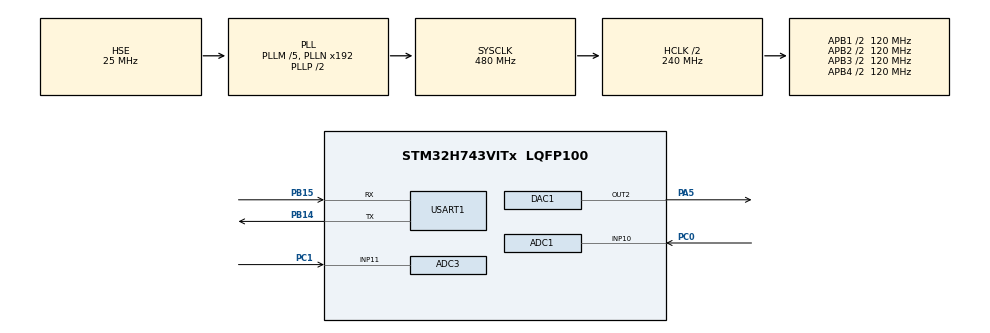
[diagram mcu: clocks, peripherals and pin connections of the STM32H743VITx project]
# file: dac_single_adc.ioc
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ADC1.Channel-0\#ChannelRegularConversion=ADC_CHANNEL_10
ADC1.ConversionDataManagement=ADC_CONVERSIONDATA_DMA_CIRCULAR
ADC1.EOCSelection=ADC_EOC_SINGLE_CONV
ADC1.ExternalTrigConv=ADC_EXTERNALTRIG_T15_TRGO
ADC1.NbrOfConversionFlag=1
ADC1.OffsetNumber-0\#ChannelRegularConversion=ADC_OFFSET_NONE
ADC1.OffsetSignedSaturation-0\#ChannelRegularConversion=DISABLE
ADC1.Rank-0\#ChannelRegularConversion=1
ADC1.SamplingTime-0\#ChannelRegularConversion=ADC_SAMPLETIME_1CYCLE_5
ADC1.master=1
ADC3.Channel-0\#ChannelRegularConversion=ADC_CHANNEL_11
ADC3.ConversionDataManagement=ADC_CONVERSIONDATA_DMA_CIRCULAR
ADC3.ExternalTrigConv=ADC_EXTERNALTRIG_T15_TRGO
ADC3.NbrOfConversion=1
ADC3.NbrOfConversionFlag=1
ADC3.OffsetNumber-0\#ChannelRegularConversion=ADC_OFFSET_NONE
ADC3.OffsetSignedSaturation-0\#ChannelRegularConversion=DISABLE
ADC3.Rank-0\#ChannelRegularConversion=1
ADC3.SamplingTime-0\#ChannelRegularConversion=ADC_SAMPLETIME_1CYCLE_5
CORTEX_M7.AccessPermission-Cortex_Memory_Protection_Unit_Region0_Settings=MPU_REGION_FULL_ACCESS
CORTEX_M7.AccessPermission-Cortex_Memory_Protection_Unit_Region1_Settings=MPU_REGION_FULL_ACCESS
CORTEX_M7.AccessPermission-Cortex_Memory_Protection_Unit_Region2_Settings=MPU_REGION_FULL_ACCESS
CORTEX_M7.AccessPermission-Cortex_Memory_Protection_Unit_Region3_Settings=MPU_REGION_FULL_ACCESS
CORTEX_M7.AccessPermission-Cortex_Memory_Protection_Unit_Region4_Settings=MPU_REGION_FULL_ACCESS
CORTEX_M7.BaseAddress-Cortex_Memory_Protection_Unit_Region0_Settings=0x24000000
CORTEX_M7.BaseAddress-Cortex_Memory_Protection_Unit_Region1_Settings=0x30000000
CORTEX_M7.BaseAddress-Cortex_Memory_Protection_Unit_Region2_Settings=0x30020000
CORTEX_M7.BaseAddress-Cortex_Memory_Protection_Unit_Region3_Settings=0x30040000
CORTEX_M7.BaseAddress-Cortex_Memory_Protection_Unit_Region4_Settings=0x38000000
CORTEX_M7.CPU_DCache=Enabled
CORTEX_M7.CPU_ICache=Enabled
CORTEX_M7.Enable-Cortex_Memory_Protection_Unit_Region0_Settings=MPU_REGION_ENABLE
CORTEX_M7.Enable-Cortex_Memory_Protection_Unit_Region1_Settings=MPU_REGION_ENABLE
CORTEX_M7.Enable-Cortex_Memory_Protection_Unit_Region2_Settings=MPU_REGION_ENABLE
CORTEX_M7.Enable-Cortex_Memory_Protection_Unit_Region3_Settings=MPU_REGION_ENABLE
CORTEX_M7.Enable-Cortex_Memory_Protection_Unit_Region4_Settings=MPU_REGION_ENABLE
CORTEX_M7.IsBufferable-Cortex_Memory_Protection_Unit_Region0_Settings=MPU_ACCESS_BUFFERABLE
CORTEX_M7.IsCacheable-Cortex_Memory_Protection_Unit_Region0_Settings=MPU_ACCESS_CACHEABLE
CORTEX_M7.MPU_Control=MPU_PRIVILEGED_DEFAULT
CORTEX_M7.Size-Cortex_Memory_Protection_Unit_Region0_Settings=MPU_REGION_SIZE_512KB
CORTEX_M7.Size-Cortex_Memory_Protection_Unit_Region1_Settings=MPU_REGION_SIZE_128KB
CORTEX_M7.Size-Cortex_Memory_Protection_Unit_Region2_Settings=MPU_REGION_SIZE_128KB
CORTEX_M7.Size-Cortex_Memory_Protection_Unit_Region3_Settings=MPU_REGION_SIZE_32KB
CORTEX_M7.Size-Cortex_Memory_Protection_Unit_Region4_Settings=MPU_REGION_SIZE_64KB
CORTEX_M7.TypeExtField-Cortex_Memory_Protection_Unit_Region0_Settings=MPU_TEX_LEVEL1
CORTEX_M7.TypeExtField-Cortex_Memory_Protection_Unit_Region1_Settings=MPU_TEX_LEVEL1
CORTEX_M7.TypeExtField-Cortex_Memory_Protection_Unit_Region2_Settings=MPU_TEX_LEVEL1
CORTEX_M7.TypeExtField-Cortex_Memory_Protection_Unit_Region3_Settings=MPU_TEX_LEVEL1
CORTEX_M7.TypeExtField-Cortex_Memory_Protection_Unit_Region4_Settings=MPU_TEX_LEVEL1
DAC1.DAC2_OutputBuffer-DAC_OUT2=DAC_OUTPUTBUFFER_DISABLE
DAC1.DAC_Channel-DAC_OUT2=DAC_CHANNEL_2
DAC1.DAC_Trigger-DAC_OUT2=DAC_TRIGGER_T6_TRGO
DAC1.WaveGeneration-DAC_OUT2=DISABLE
Dma.ADC1.0.Direction=DMA_PERIPH_TO_MEMORY
Dma.ADC1.0.EventEnable=DISABLE
Dma.ADC1.0.FIFOMode=DMA_FIFOMODE_DISABLE
Dma.ADC1.0.Instance=DMA1_Stream0
Dma.ADC1.0.MemDataAlignment=DMA_MDATAALIGN_HALFWORD
Dma.ADC1.0.MemInc=DMA_MINC_ENABLE
Dma.ADC1.0.Mode=DMA_NORMAL
Dma.ADC1.0.PeriphDataAlignment=DMA_PDATAALIGN_HALFWORD
Dma.ADC1.0.PeriphInc=DMA_PINC_DISABLE
Dma.ADC1.0.Polarity=HAL_DMAMUX_REQ_GEN_RISING
Dma.ADC1.0.Priority=DMA_PRIORITY_LOW
Dma.ADC1.0.RequestNumber=1
Dma.ADC1.0.SignalID=NONE
Dma.ADC1.0.SyncEnable=DISABLE
Dma.ADC1.0.SyncPolarity=HAL_DMAMUX_SYNC_NO_EVENT
Dma.ADC1.0.SyncRequestNumber=1
Dma.ADC1.0.SyncSignalID=NONE
Dma.ADC3.2.Direction=DMA_PERIPH_TO_MEMORY
Dma.ADC3.2.EventEnable=DISABLE
Dma.ADC3.2.FIFOMode=DMA_FIFOMODE_DISABLE
Dma.ADC3.2.Instance=DMA1_Stream2
Dma.ADC3.2.MemDataAlignment=DMA_MDATAALIGN_HALFWORD
Dma.ADC3.2.MemInc=DMA_MINC_ENABLE
Dma.ADC3.2.Mode=DMA_NORMAL
Dma.ADC3.2.PeriphDataAlignment=DMA_PDATAALIGN_HALFWORD
Dma.ADC3.2.PeriphInc=DMA_PINC_DISABLE
Dma.ADC3.2.Polarity=HAL_DMAMUX_REQ_GEN_RISING
Dma.ADC3.2.Priority=DMA_PRIORITY_LOW
Dma.ADC3.2.RequestNumber=1
Dma.ADC3.2.SignalID=NONE
Dma.ADC3.2.SyncEnable=DISABLE
Dma.ADC3.2.SyncPolarity=HAL_DMAMUX_SYNC_NO_EVENT
Dma.ADC3.2.SyncRequestNumber=1
Dma.ADC3.2.SyncSignalID=NONE
Dma.DAC1_CH2.1.Direction=DMA_MEMORY_TO_PERIPH
Dma.DAC1_CH2.1.EventEnable=DISABLE
Dma.DAC1_CH2.1.FIFOMode=DMA_FIFOMODE_DISABLE
Dma.DAC1_CH2.1.Instance=DMA1_Stream1
Dma.DAC1_CH2.1.MemDataAlignment=DMA_MDATAALIGN_HALFWORD
Dma.DAC1_CH2.1.MemInc=DMA_MINC_ENABLE
Dma.DAC1_CH2.1.Mode=DMA_CIRCULAR
Dma.DAC1_CH2.1.PeriphDataAlignment=DMA_PDATAALIGN_HALFWORD
Dma.DAC1_CH2.1.PeriphInc=DMA_PINC_DISABLE
Dma.DAC1_CH2.1.Polarity=HAL_DMAMUX_REQ_GEN_RISING
Dma.DAC1_CH2.1.Priority=DMA_PRIORITY_LOW
Dma.DAC1_CH2.1.RequestNumber=1
Dma.DAC1_CH2.1.SignalID=NONE
Dma.DAC1_CH2.1.SyncEnable=DISABLE
Dma.DAC1_CH2.1.SyncPolarity=HAL_DMAMUX_SYNC_NO_EVENT
Dma.DAC1_CH2.1.SyncRequestNumber=1
Dma.DAC1_CH2.1.SyncSignalID=NONE
Dma.Request0=ADC1
Dma.Request1=DAC1_CH2
Dma.Request2=ADC3
Mcu.Family=STM32H7
Mcu.Name=STM32H743VITx
Mcu.Package=LQFP100
NVIC.DMA1_Stream0_IRQn=true\:0\:0\:false\:false\:true\:false\:true\:true
NVIC.DMA1_Stream1_IRQn=true\:0\:0\:false\:false\:true\:false\:true\:true
NVIC.DMA1_Stream2_IRQn=true\:0\:0\:false\:false\:true\:false\:true\:true
NVIC.PriorityGroup=NVIC_PRIORITYGROUP_4
PA13\ (JTMS/SWDIO).Mode=Serial_Wire
PA13\ (JTMS/SWDIO).Signal=DEBUG_JTMS-SWDIO
PA14\ (JTCK/SWCLK).Mode=Serial_Wire
PA14\ (JTCK/SWCLK).Signal=DEBUG_JTCK-SWCLK
PA5.Signal=COMP_DAC12_group
PB14.Mode=Asynchronous
PB14.Signal=USART1_TX
PB15.Mode=Asynchronous
PB15.Signal=USART1_RX
PC0.Signal=ADCx_INP10
PC1.Signal=ADCx_INP11
PH0-OSC_IN\ (PH0).Mode=HSE-External-Oscillator
PH0-OSC_IN\ (PH0).Signal=RCC_OSC_IN
PH1-OSC_OUT\ (PH1).Mode=HSE-External-Oscillator
PH1-OSC_OUT\ (PH1).Signal=RCC_OSC_OUT
ProjectManager.HeapSize=0x200
ProjectManager.StackSize=0x7400
ProjectManager.TargetToolchain=MDK-ARM V5.32
RCC.ADCFreq_Value=72000000
RCC.APB1Freq_Value=120000000
RCC.APB2Freq_Value=120000000
RCC.APB3Freq_Value=120000000
RCC.APB4Freq_Value=120000000
RCC.CortexFreq_Value=480000000
RCC.D1PPRE=RCC_APB3_DIV2
RCC.D2PPRE1=RCC_APB1_DIV2
RCC.D2PPRE2=RCC_APB2_DIV2
RCC.D3PPRE=RCC_APB4_DIV2
RCC.DIVM1=5
RCC.DIVM2=25
RCC.DIVN1=192
RCC.DIVN2=360
RCC.DIVP2=5
RCC.HCLKFreq_Value=240000000
RCC.HPRE=RCC_HCLK_DIV2
RCC.HSE_VALUE=25000000
RCC.PLLSourceVirtual=RCC_PLLSOURCE_HSE
RCC.PWR_Regulator_Voltage_Scale=PWR_REGULATOR_VOLTAGE_SCALE0
RCC.ProductRev=revV
RCC.SYSCLKFreq_VALUE=480000000
RCC.SYSCLKSource=RCC_SYSCLKSOURCE_PLLCLK
RCC.USBFreq_Value=480000000
SH.ADCx_INP10.0=ADC1_INP10,IN10-Single-Ended
SH.ADCx_INP11.0=ADC3_INP11,IN11-Single-Ended
SH.COMP_DAC12_group.0=DAC1_OUT2,DAC_OUT2
TIM15.Period=16-1
TIM15.Prescaler=50-1
TIM15.TIM_MasterOutputTrigger=TIM_TRGO_UPDATE
TIM6.AutoReloadPreload=TIM_AUTORELOAD_PRELOAD_ENABLE
TIM6.Period=200-1
TIM6.Prescaler=12-1
TIM6.TIM_MasterOutputTrigger=TIM_TRGO_UPDATE
TIM7.Prescaler=239
USART1.VirtualMode-Asynchronous=VM_ASYNC
VP_TIM15_VS_ClockSourceINT.Mode=Internal
VP_TIM6_VS_ClockSourceINT.Mode=Enable_Timer
VP_TIM7_VS_ClockSourceINT.Mode=Enable_Timer
board=custom

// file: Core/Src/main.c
/* USER CODE BEGIN Header */
/**
  ******************************************************************************
  * @file           : main.c
  * @brief          : Main program body
  ******************************************************************************
  * @attention
  *
  * Copyright (c) 2023 STMicroelectronics.
  * All rights reserved.
  *
  * This software is licensed under terms that can be found in the LICENSE file
  * in the root directory of this software component.
  * If no LICENSE file comes with this software, it is provided AS-IS.
  *
  ******************************************************************************
  */
/* USER CODE END Header */
#include "main.h"
#include "adc.h"
#include "dac.h"
#include "dma.h"
#include "tim.h"
#include "usart.h"
#include "gpio.h"

/* USER CODE BEGIN PTD */
ALIGN_32BYTES (uint16_t adc1_data[FFT_LENGTH]) 	__attribute__((section(".ARM.__at_0x30000000")));
ALIGN_32BYTES (uint16_t adc3_data[FFT_LENGTH]) 	__attribute__((section(".ARM.__at_0x30020000")));
__IO uint8_t AdcConvEnd = 0;//表示adc采集完成
ALIGN_32BYTES (uint16_t Dat[200]) 	__attribute__((section(".ARM.__at_0x38000000")));

void adc_init(void)
{
	printf("start_adc\n");
	MX_ADC1_Init();	//初始化调用放这里, 确保在MX_DMA_Init()初始化后面
	HAL_Delay(100);	//有地方说这里可以等等电压稳定后再校准

	if (HAL_ADCEx_Calibration_Start(&hadc1, ADC_CALIB_OFFSET, ADC_SINGLE_ENDED) != HAL_OK)
	{
			printf("hadc1 error with HAL_ADCEx_Calibration_Start\r\n");
			Error_Handler();
	}

	if (HAL_ADC_Start_DMA(&hadc1, (uint32_t *)adc1_data, FFT_LENGTH) != HAL_OK)
	{
			printf("hadc1 error with HAL_ADC_Start_DMA\r\n");
			Error_Handler();
	}

	HAL_TIM_Base_Start(&htim15);
	while (!AdcConvEnd);
	AdcConvEnd = 0;
	HAL_ADC_DeInit(&hadc1);
	HAL_TIM_Base_Stop(&htim15);
}

void adc3_init(void)
{
	MX_ADC3_Init();	//初始化调用放这里, 确保在MX_DMA_Init()初始化后面
	HAL_Delay(100);	//有地方说这里可以等等电压稳定后再校准

	if (HAL_ADCEx_Calibration_Start(&hadc3, ADC_CALIB_OFFSET, ADC_SINGLE_ENDED) != HAL_OK)
	{
			printf("hadc1 error with HAL_ADCEx_Calibration_Start\r\n");
			Error_Handler();
	}

	if (HAL_ADC_Start_DMA(&hadc3, (uint32_t *)adc3_data, FFT_LENGTH) != HAL_OK)
	{
			printf("hadc3 error with HAL_ADC_Start_DMA\r\n");
			Error_Handler();
	}

	HAL_TIM_Base_Start(&htim15);
	while (!AdcConvEnd);
	AdcConvEnd = 0;
	HAL_ADC_DeInit(&hadc3);
	HAL_TIM_Base_Stop(&htim15);
}

void double_adc(void)
{
	MX_ADC1_Init();
	MX_ADC3_Init();	//初始化调用放这里, 确保在MX_DMA_Init()初始化后面
	HAL_Delay(100);	//有地方说这里可以等等电压稳定后再校准
	if (HAL_ADCEx_Calibration_Start(&hadc1, ADC_CALIB_OFFSET, ADC_SINGLE_ENDED) != HAL_OK)
	{
			printf("hadc1 error with HAL_ADCEx_Calibration_Start\r\n");
			Error_Handler();
	}

	if (HAL_ADC_Start_DMA(&hadc1, (uint32_t *)adc1_data, FFT_LENGTH) != HAL_OK)
	{
			printf("hadc1 error with HAL_ADC_Start_DMA\r\n");
			Error_Handler();
	}
	if (HAL_ADCEx_Calibration_Start(&hadc3, ADC_CALIB_OFFSET, ADC_SINGLE_ENDED) != HAL_OK)
	{
			printf("hadc1 error with HAL_ADCEx_Calibration_Start\r\n");
			Error_Handler();
	}

	if (HAL_ADC_Start_DMA(&hadc3, (uint32_t *)adc3_data, FFT_LENGTH) != HAL_OK)
	{
			printf("hadc3 error with HAL_ADC_Start_DMA\r\n");
			Error_Handler();
	}

	HAL_TIM_Base_Start(&htim15);
	while (!AdcConvEnd);
	AdcConvEnd = 0;
	HAL_ADC_DeInit(&hadc1);
	HAL_ADC_DeInit(&hadc3);
	HAL_TIM_Base_Stop(&htim15);
}

/* USER CODE END PTD */

/* USER CODE BEGIN PM */
void SineWave()
{
    uint16_t i;
    for( i=0;i<200;i++)
    {
  		Dat[i]=(uint16_t)((int16_t)(2048*sin(i*2*3.1415926/200))+2048);
//			Dat[i] = 4095;
    }
//	Dat[0] = 0;
//	Dat[1] = 4095;
}
/* USER CODE END PM */

void SystemClock_Config(void);
void PeriphCommonClock_Config(void);
static void MPU_Initialize(void);
static void MPU_Config(void);

int main(void)
{

  /* Enable I-Cache---------------------------------------------------------*/
  SCB_EnableICache();

  /* Enable D-Cache---------------------------------------------------------*/
  SCB_EnableDCache();

  /* MCU Configuration--------------------------------------------------------*/

  /* Reset of all peripherals, Initializes the Flash interface and the Systick. */
  HAL_Init();

  /* MPU Configuration--------------------------------------------------------*/
  MPU_Config();

  /* Configure the system clock */
  SystemClock_Config();

/* Configure the peripherals common clocks */
  PeriphCommonClock_Config();

  /* Initialize all configured peripherals */
  MX_GPIO_Init();
  MX_DMA_Init();
  MX_TIM7_Init();
  MX_DAC1_Init();
  MX_USART1_UART_Init();
  MX_TIM6_Init();
  MX_ADC1_Init();
  MX_TIM15_Init();
  MX_ADC3_Init();
  /* USER CODE BEGIN 2 */
	SineWave();//生成正弦数据
	HAL_DAC_Start_DMA(&hdac1,DAC_CHANNEL_2,(uint32_t *)Dat,200,DAC_ALIGN_12B_R);//开启DMA-DAC
  HAL_TIM_Base_Start(&htim6);//打开定时器6

	float voltage = 0;
	adc_init();
	adc3_init();
	for (u16 temp = 0; temp< FFT_LENGTH;temp++)
	{
		printf("%d\r\n", adc3_data[temp]);
	}
	for (u16 temp = 0; temp< FFT_LENGTH;temp++)
	{
		printf("%d\r\n", adc1_data[temp]);
	}
//	for (u16 temp = 0; temp< FFT_LENGTH;temp++)
//  {
//		voltage = ((float)adc1_data[temp]*3.3)/65535;
//	  printf("%f\r\n",voltage);
////		printf("%d\r\n", adc1_data[temp]);
//  }

//  FFT_Init();
//  FFT_DIS();

  /* USER CODE END 2 */

  /* Infinite loop */
  /* USER CODE BEGIN WHILE */
  while (1)
  {
		double_adc();
		for (u16 temp = 0; temp< FFT_LENGTH;temp++)
		{
			printf("%d\r\n", adc3_data[temp]);
		}
		for (u16 temp = 0; temp< FFT_LENGTH;temp++)
		{
			printf("%d\r\n", adc1_data[temp]);
		}
    /* USER CODE END WHILE */

  }
}

void SystemClock_Config(void)
{
  RCC_OscInitTypeDef RCC_OscInitStruct = {0};
  RCC_ClkInitTypeDef RCC_ClkInitStruct = {0};

  /** Supply configuration update enable
  */
  HAL_PWREx_ConfigSupply(PWR_LDO_SUPPLY);

  /** Configure the main internal regulator output voltage
  */
  __HAL_PWR_VOLTAGESCALING_CONFIG(PWR_REGULATOR_VOLTAGE_SCALE1);

  while(!__HAL_PWR_GET_FLAG(PWR_FLAG_VOSRDY)) {}

  __HAL_RCC_SYSCFG_CLK_ENABLE();
  __HAL_PWR_VOLTAGESCALING_CONFIG(PWR_REGULATOR_VOLTAGE_SCALE0);

  while(!__HAL_PWR_GET_FLAG(PWR_FLAG_VOSRDY)) {}

  /** Initializes the RCC Oscillators according to the specified parameters
  * in the RCC_OscInitTypeDef structure.
  */
  RCC_OscInitStruct.OscillatorType = RCC_OSCILLATORTYPE_HSE;
  RCC_OscInitStruct.HSEState = RCC_HSE_ON;
  RCC_OscInitStruct.PLL.PLLState = RCC_PLL_ON;
  RCC_OscInitStruct.PLL.PLLSource = RCC_PLLSOURCE_HSE;
  RCC_OscInitStruct.PLL.PLLM = 5;
  RCC_OscInitStruct.PLL.PLLN = 192;
  RCC_OscInitStruct.PLL.PLLP = 2;
  RCC_OscInitStruct.PLL.PLLQ = 2;
  RCC_OscInitStruct.PLL.PLLR = 2;
  RCC_OscInitStruct.PLL.PLLRGE = RCC_PLL1VCIRANGE_2;
  RCC_OscInitStruct.PLL.PLLVCOSEL = RCC_PLL1VCOWIDE;
  RCC_OscInitStruct.PLL.PLLFRACN = 0;
  if (HAL_RCC_OscConfig(&RCC_OscInitStruct) != HAL_OK)
  {
    Error_Handler();
  }

  /** Initializes the CPU, AHB and APB buses clocks
  */
  RCC_ClkInitStruct.ClockType = RCC_CLOCKTYPE_HCLK|RCC_CLOCKTYPE_SYSCLK
                              |RCC_CLOCKTYPE_PCLK1|RCC_CLOCKTYPE_PCLK2
                              |RCC_CLOCKTYPE_D3PCLK1|RCC_CLOCKTYPE_D1PCLK1;
  RCC_ClkInitStruct.SYSCLKSource = RCC_SYSCLKSOURCE_PLLCLK;
  RCC_ClkInitStruct.SYSCLKDivider = RCC_SYSCLK_DIV1;
  RCC_ClkInitStruct.AHBCLKDivider = RCC_HCLK_DIV2;
  RCC_ClkInitStruct.APB3CLKDivider = RCC_APB3_DIV2;
  RCC_ClkInitStruct.APB1CLKDivider = RCC_APB1_DIV2;
  RCC_ClkInitStruct.APB2CLKDivider = RCC_APB2_DIV2;
  RCC_ClkInitStruct.APB4CLKDivider = RCC_APB4_DIV2;

  if (HAL_RCC_ClockConfig(&RCC_ClkInitStruct, FLASH_LATENCY_4) != HAL_OK)
  {
    Error_Handler();
  }
}

void PeriphCommonClock_Config(void)
{
  RCC_PeriphCLKInitTypeDef PeriphClkInitStruct = {0};

  /** Initializes the peripherals clock
  */
  PeriphClkInitStruct.PeriphClockSelection = RCC_PERIPHCLK_ADC;
  PeriphClkInitStruct.PLL2.PLL2M = 25;
  PeriphClkInitStruct.PLL2.PLL2N = 360;
  PeriphClkInitStruct.PLL2.PLL2P = 5;
  PeriphClkInitStruct.PLL2.PLL2Q = 2;
  PeriphClkInitStruct.PLL2.PLL2R = 2;
  PeriphClkInitStruct.PLL2.PLL2RGE = RCC_PLL2VCIRANGE_0;
  PeriphClkInitStruct.PLL2.PLL2VCOSEL = RCC_PLL2VCOWIDE;
  PeriphClkInitStruct.PLL2.PLL2FRACN = 0;
  PeriphClkInitStruct.AdcClockSelection = RCC_ADCCLKSOURCE_PLL2;
  if (HAL_RCCEx_PeriphCLKConfig(&PeriphClkInitStruct) != HAL_OK)
  {
    Error_Handler();
  }
}

/* USER CODE BEGIN 4 */
void HAL_ADC_ConvCpltCallback(ADC_HandleTypeDef* hadc)
{
   if(hadc->Instance == ADC1)
	{
      //SCB_InvalidateDCache_by_Addr((uint32_t *) &adc1_data[0], ADC1_BUFFER_SIZE);
   }
	 AdcConvEnd = 1;
}
/* USER CODE END 4 */

/* MPU Configuration */

void MPU_Config(void)
{
  MPU_Region_InitTypeDef MPU_InitStruct = {0};

  /* Disables the MPU */
  HAL_MPU_Disable();

  /** Initializes and configures the Region and the memory to be protected
  */
  MPU_InitStruct.Enable = MPU_REGION_ENABLE;
  MPU_InitStruct.Number = MPU_REGION_NUMBER0;
  MPU_InitStruct.BaseAddress = 0x24000000;
  MPU_InitStruct.Size = MPU_REGION_SIZE_512KB;
  MPU_InitStruct.SubRegionDisable = 0x0;
  MPU_InitStruct.TypeExtField = MPU_TEX_LEVEL1;
  MPU_InitStruct.AccessPermission = MPU_REGION_FULL_ACCESS;
  MPU_InitStruct.DisableExec = MPU_INSTRUCTION_ACCESS_ENABLE;
  MPU_InitStruct.IsShareable = MPU_ACCESS_NOT_SHAREABLE;
  MPU_InitStruct.IsCacheable = MPU_ACCESS_CACHEABLE;
  MPU_InitStruct.IsBufferable = MPU_ACCESS_BUFFERABLE;

  HAL_MPU_ConfigRegion(&MPU_InitStruct);

  /** Initializes and configures the Region and the memory to be protected
  */
  MPU_InitStruct.Number = MPU_REGION_NUMBER1;
  MPU_InitStruct.BaseAddress = 0x30000000;
  MPU_InitStruct.Size = MPU_REGION_SIZE_128KB;
  MPU_InitStruct.IsCacheable = MPU_ACCESS_NOT_CACHEABLE;
  MPU_InitStruct.IsBufferable = MPU_ACCESS_NOT_BUFFERABLE;

  HAL_MPU_ConfigRegion(&MPU_InitStruct);

  /** Initializes and configures the Region and the memory to be protected
  */
  MPU_InitStruct.Number = MPU_REGION_NUMBER2;
  MPU_InitStruct.BaseAddress = 0x30020000;

  HAL_MPU_ConfigRegion(&MPU_InitStruct);

  /** Initializes and configures the Region and the memory to be protected
  */
  MPU_InitStruct.Number = MPU_REGION_NUMBER3;
  MPU_InitStruct.BaseAddress = 0x30040000;
  MPU_InitStruct.Size = MPU_REGION_SIZE_32KB;

  HAL_MPU_ConfigRegion(&MPU_InitStruct);

  /** Initializes and configures the Region and the memory to be protected
  */
  MPU_InitStruct.Number = MPU_REGION_NUMBER4;
  MPU_InitStruct.BaseAddress = 0x38000000;
  MPU_InitStruct.Size = MPU_REGION_SIZE_64KB;

  HAL_MPU_ConfigRegion(&MPU_InitStruct);
  /* Enables the MPU */
  HAL_MPU_Enable(MPU_PRIVILEGED_DEFAULT);

}

void Error_Handler(void)
{
  __disable_irq();
  while (1)
  {
  }
}
